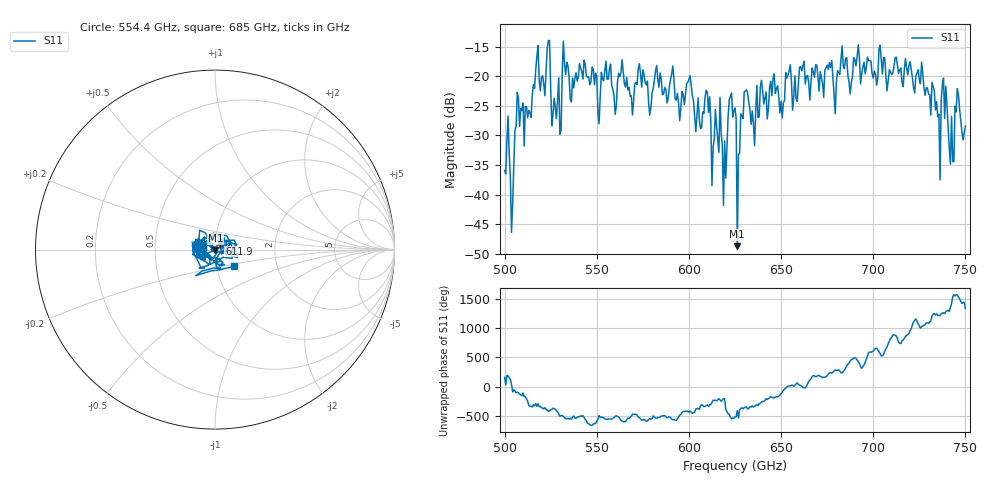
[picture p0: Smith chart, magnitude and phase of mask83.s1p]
!Created with skrf (http://scikit-rf.org).
# GHz S MA R 50.0
!freq magS11 angS11
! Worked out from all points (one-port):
!   401 points, 500 GHz to 750 GHz, reference 50 ohm
!   lowest |S11| = -48.7 dB at 626.2 GHz (marker M1), VSWR 1.01, Z = 50.2 - j0.282 ohm
!   |S11| at or under -10 dB: start of sweep to end of sweep
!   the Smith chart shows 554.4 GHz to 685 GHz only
!   S11 on the Smith chart (normalised r, x): 554.4 GHz: 0.80, +0.04; 611.9 GHz: 1.05, +0.07; 685 GHz: 1.21, -0.23
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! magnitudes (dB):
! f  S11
! 500 GHz  -35.9
! 503.8 GHz  -46.4
! 506.9 GHz  -22.7
! 513.8 GHz  -26.1
! 516.9 GHz  -19.0
! 523.8 GHz  -14.0
! 526.9 GHz  -23.7
! 531.2 GHz  -19.5
! 554.4 GHz  -19.1
! 562.5 GHz  -20.1
! 593.8 GHz  -22.9
! 600 GHz  -20.5
! 611.9 GHz  -27.6
! 619.4 GHz  -30.9
! 623.1 GHz  -22.8
! 625 GHz  -25.4
! 626.2 GHz  -48.7
! 631.2 GHz  -22.3
! 635 GHz  -28.1
! 656.2 GHz  -25.7
! 685 GHz  -17.0
! 687.5 GHz  -23.0
! 718.8 GHz  -19.8
! 735 GHz  -26.8
! 738.8 GHz  -27.1
! 742.5 GHz  -26.8
! 745.6 GHz  -22.1
! 750 GHz  -28.4
